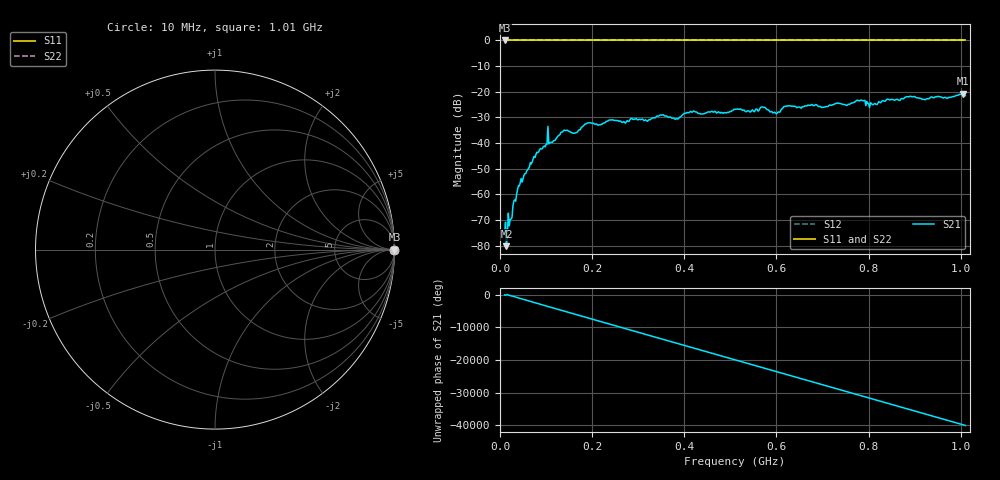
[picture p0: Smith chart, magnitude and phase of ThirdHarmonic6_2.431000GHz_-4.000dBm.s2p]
! 8/17/2025 4:12:36 AM
! C:\ANRITSUVNA\TEMP\TEMP.S2P
! CHANNEL.1
! TR.MEASUREMENT
! RAW.DATA
! RF.CORRECTION.OFF
! AVERAGING.OFF
! IF.BANDWIDTH: 5KHZ
! SWEEPTYPE:  FREQ.SWEEP(Linear)
! Reference Plane Port Info
! PORT:  PORT1  PORT2
! DISTANCE:  0  m  0  m
! TIME:  0  s  0  s
! PHASE.OFFSET:  0  deg.  0  deg.
! LOSS:  0  dB  0  dB
! REF.LOSS:  0  dB  0  dB
! REF.FREQ:  0  Hz  0  Hz
! Power Info
! POWER:  -20  dBm  -20  dBm
! EFF.POWER:  -20  dBm  -20  dBm
! SOURCE.ATTEN:  0  dB  0  dB
! TEST.ATTEN:  0  dB  0  dB
# GHZ S RI R 50.0
! FREQ.GHZ  S11RE  S11IM  S21RE  S21IM  S12RE  S12IM  S22RE  S22IM
!; PortSelection: Port_12
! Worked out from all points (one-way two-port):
!   501 points, 10 MHz to 1.01 GHz, reference 50 ohm
!   highest |S21| = -20.74 dB at 1.004 GHz (marker M1); lowest = -80.3 dB at 14 MHz (marker M2)
!   lowest |S11| = 0.0 dB at 10 MHz (marker M3)
!   |S11| at or under -10 dB: nowhere
!   |S22| runs from 0.0 to 0.0 dB; largest |S21 - S12| = 1.1
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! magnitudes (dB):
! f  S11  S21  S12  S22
! 10 MHz  0.0  -75.3  0.0  0.0
! 14 MHz  0.0  -80.3  0.0  0.0
! 18 MHz  0.0  -67.4  0.0  0.0
! 42 MHz  0.0  -56.7  0.0  0.0
! 76 MHz  0.0  -45.7  0.0  0.0
! 100 MHz  0.0  -40.6  0.0  0.0
! 116 MHz  0.0  -39.1  0.0  0.0
! 136 MHz  0.0  -35.7  0.0  0.0
! 162 MHz  0.0  -36.2  0.0  0.0
! 178 MHz  0.0  -33.7  0.0  0.0
! 344 MHz  0.0  -29.5  0.0  0.0
! 384 MHz  0.0  -30.5  0.0  0.0
! 416 MHz  0.0  -28.0  0.0  0.0
! 510 MHz  0.0  -26.9  0.0  0.0
! 570 MHz  0.0  -25.9  0.0  0.0
! 598 MHz  0.0  -28.3  0.0  0.0
! 622 MHz  0.0  -25.5  0.0  0.0
! 678 MHz  0.0  -25.2  0.0  0.0
! 806 MHz  0.0  -24.7  0.0  0.0
! 844 MHz  0.0  -23.1  0.0  0.0
! 1.004 GHz  0.0  -20.7  0.0  0.0
! 1.01 GHz  0.0  -21.5  0.0  0.0
